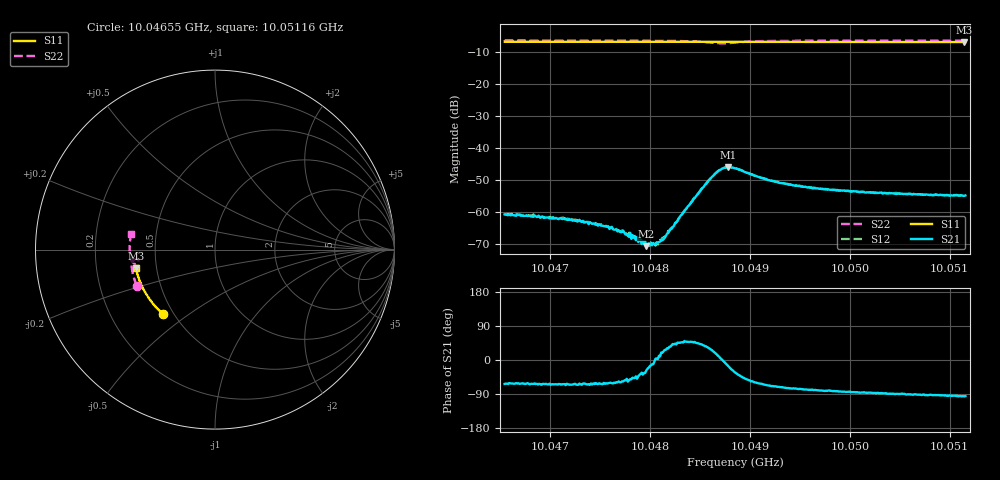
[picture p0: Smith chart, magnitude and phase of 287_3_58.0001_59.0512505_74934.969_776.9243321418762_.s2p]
#  HZ  S  RI  R  50.00
! Rohde & Schwarz Vector Network Analyzer
! Rohde-Schwarz,ZNB20-2Port,1311601062101988,3.16
! Created: UTC 3/21/2024, 1:03:08 AM
! freq[Hz]  re:S11  im:S11  re:S21  im:S21  re:S12  im:S12  re:S22  im:S22
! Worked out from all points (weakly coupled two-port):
!   401 points, 10.04655 GHz to 10.05116 GHz, reference 50 ohm
!   highest |S21| = -45.91 dB at 10.04878 GHz (marker M1); lowest = -70.6 dB at 10.04796 GHz (marker M2)
!   lowest |S11| = -6.9 dB at 10.05115 GHz (marker M3), VSWR 2.66, Z = 19 - j4.99 ohm
!   |S11| at or under -10 dB: nowhere
!   |S22| runs from -7.3 to -6.4 dB; largest |S21 - S12| = 0.00035
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1.0046545e10  -0.2884 -0.3597  0.000419 -0.000825  0.000501 -0.000792  -0.4353 -0.2016
1.0047133e10  -0.3169 -0.3332  0.000354 -0.000713  0.000419 -0.000711  -0.4495 -0.1644
1.0047318e10  -0.3253 -0.3243  0.000293 -0.000643  0.000361 -0.000626  -0.4531 -0.1522
1.0047514e10  -0.334 -0.3148  0.000279 -0.000549  0.000328 -0.000559  -0.4569 -0.1389
1.0047722e10  -0.3431 -0.3043  0.000273 -0.000409  0.000329 -0.000403  -0.4601 -0.1244
1.0047964e10  -0.353 -0.2918  0.000261 -0.000138  0.0003 -0.000144  -0.4631 -0.1064
1.0047987e10  -0.3539 -0.2906  0.000286 -0.000106  0.000311 -9.34e-05  -0.4633 -0.1046
1.0048044e10  -0.3562 -0.2877  0.000316 -2.62e-05  0.000316 -8.5e-06  -0.4638 -0.1
1.0048091e10  -0.358 -0.2852  0.000335 6.57e-05  0.000344 7.27e-05  -0.464 -0.0964
1.0048148e10  -0.3603 -0.2822  0.000357 0.000179  0.000355 0.000216  -0.4642 -0.0914
1.0048252e10  -0.3645 -0.2767  0.000497 0.000466  0.00045 0.000482  -0.4638 -0.0824
1.0048367e10  -0.3688 -0.2703  0.000767 0.000851  0.00073 0.000905  -0.4616 -0.0715
1.0048609e10  -0.3773 -0.2569  0.00301 0.00157  0.00292 0.00179  -0.441 -0.052
1.0048702e10  -0.3804 -0.2519  0.00455 0.000442  0.00457 0.000787  -0.4282 -0.0587
1.0048782e10  -0.3831 -0.2476  0.00486 -0.00141  0.00497 -0.00112  -0.4287 -0.0722
1.0048852e10  -0.3855 -0.2439  0.00408 -0.00262  0.00431 -0.00236  -0.4381 -0.0786
1.0049198e10  -0.397 -0.224  0.00122 -0.00291  0.00141 -0.00284  -0.4681 -0.0547
1.0049417e10  -0.4035 -0.2114  0.000701 -0.00261  0.000871 -0.00255  -0.4726 -0.0365
1.0049624e10  -0.4094 -0.1989  0.000494 -0.00231  0.000604 -0.00233  -0.4747 -0.0204
1.0050397e10  -0.4279 -0.1516  3.49e-05 -0.00199  0.000137 -0.002  -0.4745 0.0342
1.0051146e10  -0.4408 -0.1042  -0.000184 -0.00179  -5.85e-05 -0.00184  -0.4679 0.084
1.0051158e10  -0.4409 -0.1035  -0.000169 -0.00182  -8.59e-05 -0.00182  -0.4677 0.0847
